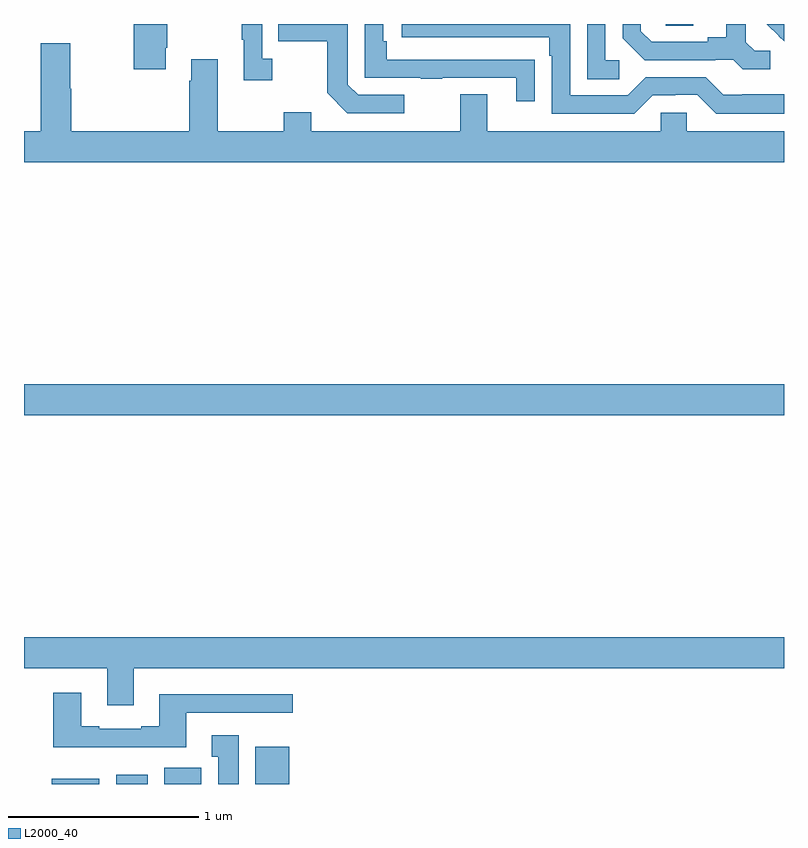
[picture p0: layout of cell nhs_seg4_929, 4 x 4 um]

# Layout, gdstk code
import gdstk
lib = gdstk.Library(unit=1e-6, precision=1e-09)
def R(c, l, rs):  # rectangles x0, y0, x1, y1
    for r in rs: c.add(gdstk.rectangle(r[:2], r[2:], *l))
def P(c, l, *ps):  # polygons
    for p in ps: c.add(gdstk.Polygon(p, *l))
L2000_40 = (2000, 40)

nhs_seg4_929 = lib.new_cell('nhs_seg4_929')
R(nhs_seg4_929, L2000_40, [(159.146,774.9,159.397,774.928), (159.485,774.9,159.652,774.949), (159.737,774.9,159.933,774.985), (160.217,774.9,160.396,775.096), (159,776.84,163,777.004), (162.378,778.891,162.523,778.9), (159,778.898,159.04,778.9)])
P(nhs_seg4_929, L2000_40, [(160.306,778.718),(160.254,778.718),(160.254,778.9),(160.146,778.9),(160.146,778.817),(160.157,778.817),(160.157,778.605),(160.306,778.605)],
  [(161.002,778.527),(160.758,778.527),(160.704,778.581),(160.704,778.9),(160.339,778.9),(160.339,778.81),(160.596,778.81),(160.596,778.537),(160.701,778.431),(161.002,778.431)],
  [(162.928,778.758),(162.846,778.758),(162.799,778.805),(162.799,778.9),(162.695,778.9),(162.695,778.829),(162.599,778.829),(162.599,778.806),(162.304,778.806),(162.247,778.863),(162.247,778.9),(162.15,778.9),(162.15,778.826),(162.266,778.71),(162.638,778.71),(162.638,778.713),(162.732,778.713),(162.784,778.661),(162.928,778.661)],
  [(162.133,778.71),(162.06,778.71),(162.06,778.9),(161.964,778.9),(161.964,778.609),(162.133,778.609)],
  [(161.687,778.712),(161.585,778.712),(161.585,778.713),(160.91,778.713),(160.91,778.81),(160.89,778.81),(160.89,778.9),(160.794,778.9),(160.794,778.617),(161.089,778.617),(161.089,778.612),(161.201,778.612),(161.201,778.617),(161.591,778.617),(161.591,778.494),(161.687,778.494)],
  [(163,778.531),(162.781,778.531),(162.781,778.527),(162.681,778.527),(162.588,778.62),(162.273,778.62),(162.177,778.524),(161.874,778.524),(161.874,778.9),(160.989,778.9),(160.989,778.83),(161.765,778.83),(161.765,778.733),(161.778,778.733),(161.778,778.428),(162.213,778.428),(162.309,778.524),(162.428,778.524),(162.428,778.527),(162.543,778.527),(162.643,778.427),(163,778.427)],
  [(159.745,778.774),(159.753,778.774),(159.753,778.9),(159.578,778.9),(159.578,778.662),(159.745,778.662)],
  [(163,778.9),(162.91,778.9),(162.973,778.837),(162.972,778.836),(163,778.808)],
  [(163,778.336),(162.489,778.336),(162.489,778.434),(162.351,778.434),(162.351,778.336),(161.437,778.336),(161.437,778.531),(161.297,778.531),(161.297,778.336),(160.513,778.336),(160.513,778.435),(160.366,778.435),(160.366,778.336),(160.021,778.336),(160.021,778.714),(159.881,778.714),(159.881,778.601),(159.869,778.601),(159.869,778.336),(159.248,778.336),(159.248,778.559),(159.243,778.559),(159.243,778.798),(159.088,778.798),(159.088,778.336),(159,778.336),(159,778.172),(163,778.172)],
  [(159.577,775.508),(163,775.508),(163,775.672),(159,775.672),(159,775.508),(159.437,775.508),(159.437,775.314),(159.577,775.314)],
  [(159.853,775.275),(160.414,775.275),(160.414,775.372),(159.713,775.372),(159.713,775.204),(159.617,775.204),(159.617,775.191),(159.397,775.191),(159.397,775.204),(159.301,775.204),(159.301,775.381),(159.154,775.381),(159.154,775.094),(159.853,775.094)],
  [(160.129,775.156),(159.989,775.156),(159.989,775.043),(160.022,775.043),(160.022,774.9),(160.129,774.9)])

lib.write_gds('nhs_seg4_929.gds')
